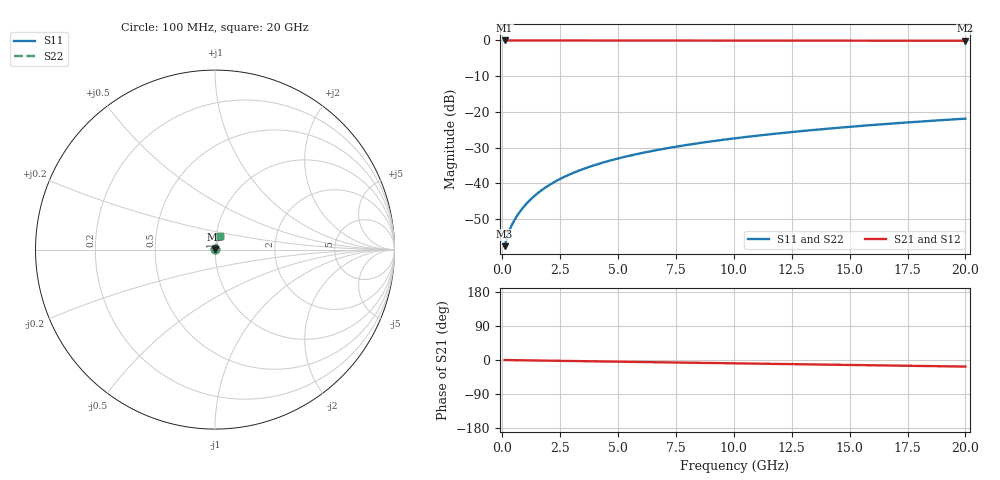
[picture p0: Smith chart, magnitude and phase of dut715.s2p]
! Touchstone file exported from HFSS 2026.1.0
!  File:  C:/ffzhzh/LocalFiles/Ansys_Project_Files/temp_train_BSMRDL_715_1783168250_18472.aedt
!  Generated:  08:31:59 PM Jul  4, 2026
!  Design:  BSMRDL
!  Project:  temp_train_BSMRDL_715_1783168250_18472
! Variables:
!  h_bsmrdl = 3.83um
!  h_ox = 20um
!  h_rdl = 5um
!  h_sub = 80um
!  h_tmrdl = 5um
!  h_tsv = 80um
!  h_via = 3um
!  l_bsmrdl = 276.36um
!  l_sub = 676.36um
!  l_tmrdl = 200um
!  m_sub = 200um
!  pitch = 38.37um
!  r_tsv = 6um
!  s_tmrdl = 10um
!  w_bsmrdl = 28.36um
!  w_sub = 500um
!  w_tmrdl = 12um
!  x_tsv_center1 = 206um
!  x_tsv_center2 = 510.72um
!  x_tsv_center3 = 722.72um
!  x_tsv_center4 = 1027.44um
!  x_tsv_center5 = 1239.44um
!  x_tsv_center6 = 1544.16um
# GHz S MA R 50.000000
! Terminal data exported
! Port[1] = BSM_RDL1_1_T1
! Port[2] = BSM_RDL1_1_T2
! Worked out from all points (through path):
!   200 points, 100 MHz to 20 GHz, reference 50 ohm
!   highest |S21| = -0.01 dB at 100 MHz (marker M1); lowest = -0.1 dB at 20 GHz (marker M2)
!   group delay of S21, straight-line fit = 2.41 ps
!   lowest |S11| = -57.6 dB at 100 MHz (marker M3), VSWR 1.00, Z = 50.1 + j0.0632 ohm
!   |S11| at or under -10 dB: start of sweep to end of sweep
!   |S22| runs from -57.6 to -21.9 dB; largest |S21 - S12| = 2.3e-15
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0.1  0.001322 28.5  0.9988 -0.1  0.9988 -0.1  0.001322 28.5
! Gamma 0 0 0 0
! Port Impedance 50 0 50 0
0.2  0.001745 42.3  0.9987 -0.2  0.9987 -0.2  0.001745 42.3
0.3  0.002168 49.5  0.9986 -0.3  0.9986 -0.3  0.002168 49.5
0.4  0.002569 54.4  0.9985 -0.4  0.9985 -0.4  0.002569 54.4
0.5  0.002963 58.2  0.9984 -0.5  0.9984 -0.5  0.002963 58.2
0.6  0.00336 61.3  0.9984 -0.6  0.9984 -0.6  0.00336 61.3
0.8  0.004172 66.1  0.9983 -0.7  0.9983 -0.7  0.004172 66.1
1  0.005007 69.4  0.9983 -0.9  0.9983 -0.9  0.005008 69.4
1.2  0.005861 71.7  0.9982 -1.1  0.9982 -1.1  0.005861 71.7
1.4  0.006726 73.5  0.9982 -1.3  0.9982 -1.3  0.006726 73.5
1.7  0.008036 75.3  0.9981 -1.5  0.9981 -1.5  0.008036 75.3
2.2  0.01023 77.0  0.998 -2.0  0.998 -2.0  0.01023 77.0
2.8  0.01286 78.0  0.9978 -2.5  0.9978 -2.5  0.01286 78.0
3.5  0.01591 78.4  0.9975 -3.1  0.9975 -3.1  0.01591 78.4
4.2  0.01891 78.4  0.9972 -3.7  0.9972 -3.7  0.01891 78.4
5  0.0223 78.1  0.9969 -4.4  0.9969 -4.4  0.0223 78.1
6.8  0.02974 77.2  0.9961 -6.0  0.9961 -6.0  0.02974 77.2
8.3  0.03579 76.3  0.9954 -7.3  0.9954 -7.3  0.03579 76.3
10.1  0.04292 75.1  0.9946 -8.9  0.9946 -8.9  0.04292 75.1
13.4  0.05572 72.8  0.9931 -11.7  0.9931 -11.7  0.05572 72.8
16.7  0.06823 70.5  0.9917 -14.5  0.9917 -14.5  0.06823 70.4
20  0.08046 68.0  0.9902 -17.4  0.9902 -17.4  0.08047 68.0
